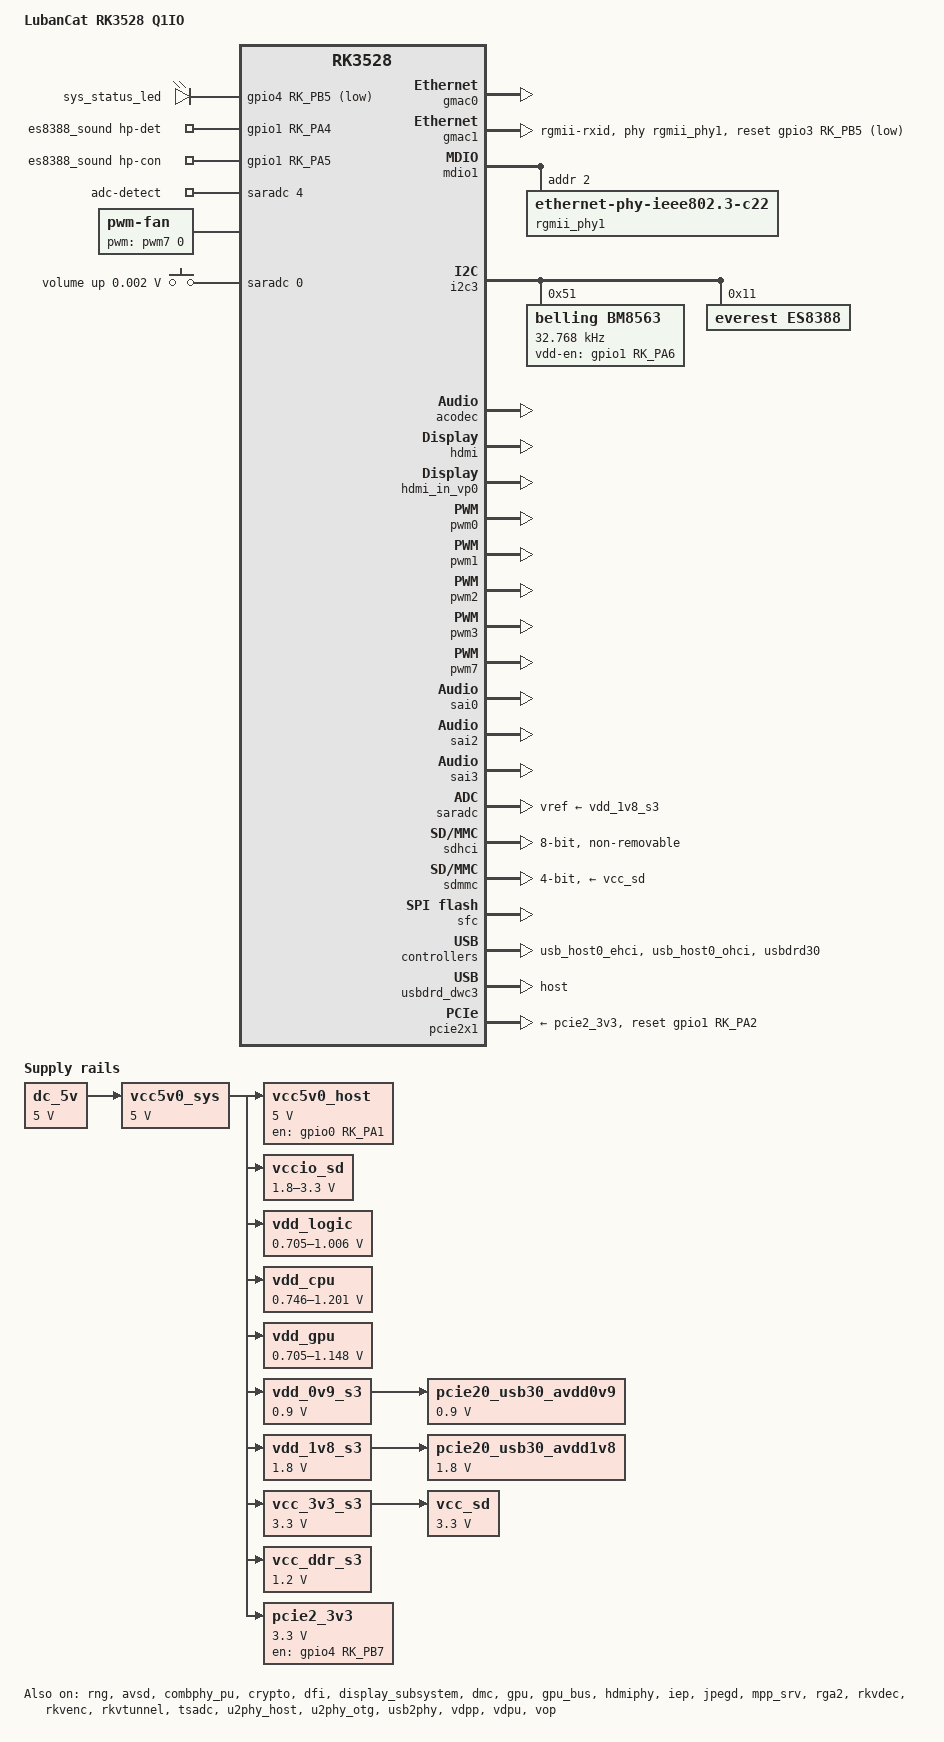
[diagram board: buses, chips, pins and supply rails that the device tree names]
// SPDX-License-Identifier: (GPL-2.0+ OR MIT)
/*
 * Copyright (c) 2022 Rockchip Electronics Co., Ltd.
 *
 */
/dts-v1/;

#include "rk3528.dtsi"
#include <dt-bindings/gpio/gpio.h>
//#include <dt-bindings/input/rk-input.h>
#include <dt-bindings/input/linux-event-codes.h>
#include <dt-bindings/pinctrl/rockchip.h>
#include "rk3528-linux.dtsi"

/ {

	model = "LubanCat RK3528 Q1IO";
	compatible = "rockchip,lubancat-q1io", "rockchip,rk3528";

	chosen: chosen {
		bootargs = "earlycon=uart8250,mmio32,0xff9f0000 console=ttyFIQ0 root=PARTUUID=614e0000-0000 rw rootwait";
	};

	leds: leds {
		status = "okay";
		compatible = "gpio-leds";

		sys_status_led: sys-status-led {
			label = "sys_status_led";
			linux,default-trigger = "heartbeat";
			default-state = "on";
			gpios = <&gpio4 RK_PB5 GPIO_ACTIVE_LOW>;
			pinctrl-names = "default";
			pinctrl-0 = <&sys_status_led_pin>;
		};

	};

	acodec_sound: acodec-sound {
		status = "okay";
		compatible = "simple-audio-card";
		simple-audio-card,name = "rk3528-acodec";
		simple-audio-card,format = "i2s";
		simple-audio-card,mclk-fs = <256>;
		simple-audio-card,cpu {
			sound-dai = <&sai2>;
		};
		simple-audio-card,codec {
			sound-dai = <&acodec>;
		};
	};

	es8388_sound: es8388-sound {
		status = "okay";
		compatible = "rockchip,multicodecs-card";
		rockchip,card-name = "rockchip-es8388";
		hp-det-gpio = <&gpio1 RK_PA4 GPIO_ACTIVE_HIGH>;
		hp-con-gpio = <&gpio1 RK_PA5 GPIO_ACTIVE_HIGH>;
		io-channels = <&saradc 4>;
		io-channel-names = "adc-detect";
		keyup-threshold-microvolt = <1800000>;
		poll-interval = <100>;
		rockchip,format = "i2s";
		rockchip,mclk-fs = <256>;
		rockchip,cpu = <&sai0>;
		rockchip,codec = <&es8388>;
		rockchip,audio-routing =
			"Headphone", "LOUT1",
			"Headphone", "ROUT1",
			"Headphone", "Headphone Power",
			"Headphone", "Headphone Power",
			"LINPUT1", "Headset Mic",
			"RINPUT1", "Headset Mic",
			"LINPUT2", "Main Mic",
			"RINPUT2", "Main Mic";
		pinctrl-names = "default";
		pinctrl-0 = <&hp_det>;
		play-pause-key {
			label = "playpause";
			linux,code = <KEY_PLAYPAUSE>;
			press-threshold-microvolt = <2000>;
		};

		previous-song-key {
			label = "previoussong";
			linux,code = <KEY_PREVIOUSSONG>;
			press-threshold-microvolt = <145000>;
		};

		next-song-key {
			label = "nextsong";
			linux,code = <KEY_NEXTSONG>;
			press-threshold-microvolt = <290000>;
		};
	};
	fan: pwm-fan {
		compatible = "pwm-fan";
		#cooling-cells = <2>;
		pwms = <&pwm7 0 5000 0>;
		cooling-levels = <0 100 150 200 255>;
		rockchip,temp-trips = <
			40000	1
			55000	2
			60000	3
			65000	4
		>;
	};

	adc_keys: adc-keys {
		status = "okay";
		compatible = "adc-keys";
		io-channels = <&saradc 0>;
		io-channel-names = "buttons";
		keyup-threshold-microvolt = <1800000>;
		poll-interval = <100>;

		vol-up-key {
			label = "volume up";
			linux,code = <KEY_VOLUMEUP>;
			press-threshold-microvolt = <1750>;
		};
	};

	dc_5v: dc-5v {
		compatible = "regulator-fixed";
		regulator-name = "dc_5v";
		regulator-always-on;
		regulator-boot-on;
		regulator-min-microvolt = <5000000>;
		regulator-max-microvolt = <5000000>;
	};

	hdmi_sound: hdmi-sound {
		compatible = "rockchip,hdmi";
		rockchip,mclk-fs = <128>;
		rockchip,card-name = "rockchip,hdmi";
		rockchip,cpu = <&sai3>;
		rockchip,codec = <&hdmi>;
		rockchip,jack-det;
	};

	pdmics: dummy-codec {
		status = "disabled";
		compatible = "rockchip,dummy-codec";
		#sound-dai-cells = <0>;
	};

	pdm_mic_array: pdm-mic-array {
		status = "disabled";
		compatible = "simple-audio-card";
		simple-audio-card,name = "rockchip,pdm-mic-array";
		simple-audio-card,cpu {
			sound-dai = <&pdm>;
		};
		simple-audio-card,codec {
			sound-dai = <&pdmics>;
		};
	};

	vcc5v0_sys: vcc5v0-sys {
		compatible = "regulator-fixed";
		regulator-name = "vcc5v0_sys";
		regulator-always-on;
		regulator-boot-on;
		regulator-min-microvolt = <5000000>;
		regulator-max-microvolt = <5000000>;
		vin-supply = <&dc_5v>;
	};

	vcc5v0_host: vcc5v0-host-regulator {
		compatible = "regulator-fixed";
		regulator-name = "vcc5v0_host";
		regulator-boot-on;
		regulator-always-on;
		regulator-min-microvolt = <5000000>;
		regulator-max-microvolt = <5000000>;
		enable-active-high;
		gpio = <&gpio0 RK_PA1 GPIO_ACTIVE_HIGH>;
		vin-supply = <&vcc5v0_sys>;
		pinctrl-names = "default";
		pinctrl-0 = <&vcc5v0_host_en>;
	};

	vccio_sd: vccio-sd {
		compatible = "regulator-gpio";
		regulator-name = "vccio_sd";
		regulator-min-microvolt = <1800000>;
		regulator-max-microvolt = <3300000>;
		gpios = <&gpio0 RK_PA0 GPIO_ACTIVE_LOW>;
		vin-supply = <&vcc5v0_sys>;
		states = <1800000 0x1 3300000 0x0>;
	};

	vdd_logic: vdd-logic {
		compatible = "pwm-regulator";
		pwms = <&pwm2 0 5000 1>;
		regulator-name = "vdd_logic";
		regulator-min-microvolt = <705000>;
		regulator-max-microvolt = <1006000>;
		regulator-init-microvolt = <900000>;
		regulator-always-on;
		regulator-boot-on;
		regulator-settling-time-up-us = <250>;
		pwm-supply = <&vcc5v0_sys>;
		status = "okay";
	};

	vdd_cpu: vdd-cpu {
		compatible = "pwm-regulator";
		pwms = <&pwm1 0 5000 1>;
		regulator-name = "vdd_cpu";
		regulator-min-microvolt = <746000>;
		regulator-max-microvolt = <1201000>;
		regulator-init-microvolt = <953000>;
		regulator-always-on;
		regulator-boot-on;
		regulator-settling-time-up-us = <250>;
		pwm-supply = <&vcc5v0_sys>;
		status = "okay";
	};

	vdd_gpu: vdd-gpu {
		compatible = "pwm-regulator";
		pwms = <&pwm0 0 5000 1>;
		regulator-name = "vdd_gpu";
		regulator-min-microvolt = <705000>;
		regulator-max-microvolt = <1148000>;
		regulator-init-microvolt = <900000>;
		regulator-always-on;
		regulator-boot-on;
		regulator-settling-time-up-us = <250>;
		pwm-supply = <&vcc5v0_sys>;
		status = "okay";
	};

	vdd_0v9_s3: vdd-0v9-s3 {
		compatible = "regulator-fixed";
		regulator-name = "vdd_0v9_s3";
		regulator-always-on;
		regulator-boot-on;
		regulator-min-microvolt = <900000>;
		regulator-max-microvolt = <900000>;
		vin-supply = <&vcc5v0_sys>;
	};

	vdd_1v8_s3: vdd-1v8-s3 {
		compatible = "regulator-fixed";
		regulator-name = "vdd_1v8_s3";
		regulator-always-on;
		regulator-boot-on;
		regulator-min-microvolt = <1800000>;
		regulator-max-microvolt = <1800000>;
		vin-supply = <&vcc5v0_sys>;
	};

	vcc_3v3_s3: vcc-3v3-s3 {
		compatible = "regulator-fixed";
		regulator-name = "vcc_3v3_s3";
		regulator-always-on;
		regulator-boot-on;
		regulator-min-microvolt = <3300000>;
		regulator-max-microvolt = <3300000>;
		vin-supply = <&vcc5v0_sys>;
	};

	vcc_sd: vcc-sd {
		compatible = "regulator-fixed";
		regulator-name = "vcc_sd";
		regulator-min-microvolt = <3300000>;
		regulator-max-microvolt = <3300000>;
		vin-supply = <&vcc_3v3_s3>;
	};

	vcc_ddr_s3: vcc-ddr-s3 {
		compatible = "regulator-fixed";
		regulator-name = "vcc_ddr_s3";
		regulator-always-on;
		regulator-boot-on;
		regulator-min-microvolt = <1200000>;
		regulator-max-microvolt = <1200000>;
		vin-supply = <&vcc5v0_sys>;
	};

	pcie20_usb30_avdd0v9: pcie20-usb30-avdd0v9 {
		compatible = "regulator-fixed";
		regulator-name = "pcie20_usb30-avdd0v9";
		regulator-boot-on;
		regulator-always-on;
		regulator-min-microvolt = <900000>;
		regulator-max-microvolt = <900000>;
		vin-supply = <&vdd_0v9_s3>;
	};

	pcie20_usb30_avdd1v8: pcie20-usb30-avdd1v8 {
		compatible = "regulator-fixed";
		regulator-name = "pcie20_usb30_avdd1v8";
		regulator-boot-on;
		regulator-always-on;
		regulator-min-microvolt = <1800000>;
		regulator-max-microvolt = <1800000>;
		vin-supply = <&vdd_1v8_s3>;
	};


	pcie2_3v3: pcie2-3v3-regulator {
		compatible = "regulator-fixed";
		regulator-name = "pcie2_3v3";
		regulator-min-microvolt = <3300000>;
		regulator-max-microvolt = <3300000>;
		enable-active-high;
		gpio = <&gpio4 RK_PB7 GPIO_ACTIVE_HIGH>;
		startup-delay-us = <5000>;
		vin-supply = <&vcc5v0_sys>;
		regulator-always-on;
	};

	/*wifi_usb: wifi-usb {
		compatible = "regulator-fixed";
		regulator-name = "wifi_usb";
		regulator-min-microvolt = <3300000>;
		regulator-max-microvolt = <3300000>;
		pinctrl-names = "default";
		pinctrl-0 = <&wifi_poweren_gpio>;
		regulator-always-on;
		enable-active-low;
		gpio = <&gpio4 RK_PC0 GPIO_ACTIVE_LOW>;
	};*/
};

&gmac0 {
	status = "okay";
};

&gmac1 {
	/* Use rgmii-rxid mode to disable rx delay inside Soc */
	phy-mode = "rgmii-rxid";
	clock_in_out = "output";

	snps,reset-gpio = <&gpio3 RK_PB5 GPIO_ACTIVE_LOW>;
	snps,reset-active-low;
	/* Reset time is 20ms, 100ms for rtl8211f */
	snps,reset-delays-us = <0 20000 100000>;

	tx_delay = <0x15>;
	/* rx_delay = <0x3f>; */

	pinctrl-names = "default";
	pinctrl-0 = <&rgmii_miim
		&rgmii_tx_bus2
		&rgmii_rx_bus2
		&rgmii_rgmii_clk
		&rgmii_rgmii_bus>;

	phy-handle = <&rgmii_phy1>;
	status = "okay";
};

&mdio1 {
	rgmii_phy1: phy@1 {
		compatible = "ethernet-phy-ieee802.3-c22";
		reg = <0x2>;
	};
};

&i2c3 {
	pinctrl-names = "default";
	pinctrl-0 = <&i2c3m1_xfer>;
	status = "okay";

	bm8563: bm8563@51 {
		compatible = "belling,bm8563";
		reg = <0x51>;
		#clock-cells = <0>;
		clock-frequency = <32768>;
		//clock-output-names = "bm8563";
		pinctrl-names = "default";
		pinctrl-0 = <&bm8563_int>;
		vdd-en-gpio = <&gpio1 RK_PA6 GPIO_ACTIVE_HIGH>;
	};

	es8388: es8388@11 {
		status = "okay";
		#sound-dai-cells = <0>;
		compatible = "everest,es8388", "everest,es8323";
		reg = <0x11>;
		clocks = <&mclkout_sai0>;
		clock-names = "mclk";
		assigned-clocks = <&mclkout_sai0>;
		assigned-clock-rates = <12288000>;
		pinctrl-names = "default";
		pinctrl-0 = <&i2s0m1_mclk>;
	};
};

&rng {
	status = "okay";
};

&avsd {
	status = "okay";
};

&combphy_pu {
	status = "okay";
};

&cpu0 {
	cpu-supply = <&vdd_cpu>;
};

&crypto {
	status = "okay";
};

&dfi {
	status = "okay";
};

&display_subsystem {
	status = "okay";
};

&dmc {
	center-supply = <&vdd_logic>;
	status = "okay";
};

&acodec {
	status = "okay";
};

&gpu {
	mali-supply = <&vdd_gpu>;
	status = "okay";
};

&gpu_bus {
	bus-supply = <&vdd_logic>;
	status = "okay";
};

&hdmi {
	status = "okay";
};

&hdmi_in_vp0 {
	status = "okay";
};

&hdmiphy {
	status = "okay";
};

&iep {
	status = "okay";
};

&iep_mmu {
	status = "okay";
};

&jpegd {
	status = "okay";
};

&jpegd_mmu {
	status = "okay";
};

&mpp_srv {
	status = "okay";
};

&pwm0 {
	status = "okay";
};

&pwm1 {
	status = "okay";
};

&pwm2 {
	status = "okay";
};

&pwm3 {
	compatible = "rockchip,remotectl-pwm";
	pinctrl-names = "default";
	pinctrl-0 = <&pwm3m0_pins>;
	remote_pwm_id = <3>;
	handle_cpu_id = <1>;
	remote_support_psci = <0>;
	status = "okay";

	ir_key_lubancat{
	rockchip,usercode = <0xff00>;
	rockchip,key_table =
		<0xba   KEY_POWER>,   //电源按键
		<0xb8   KEY_MENU>,     //菜单按键
		<0xbc   KEY_BACK>,      //返回按键
		<0xbb   KEY_HOME>,      //home键按键
 		<0xea   KEY_PLAY>,      //播放按键
		<0xbf   KEY_VOLUMEUP>,  //音量加按键
		<0xe6   KEY_VOLUMEDOWN>,   //音量键按键
		<0xf6   KEY_FASTFORWARD>,  //快进按键
		<0xf8   KEY_FASTREVERSE>,  //快退按键
		<0xf2   KEY_BACKSPACE>,    //BaskSpace按键
		<0xf3   KEY_1>,            //按键1
		<0xe7   KEY_2>,
		<0xa1   KEY_3>,
		<0xf7   KEY_4>,
		<0xe3   KEY_5>,
		<0xa5   KEY_6>,
		<0xbd   KEY_7>,
		<0xad   KEY_8>,
		<0xb5   KEY_9>,
		<0xe9   KEY_0>;            //按键0
	};
};

&pwm7 {
	pinctrl-0 = <&pwm7m0_pins>;
	status = "okay";
};

&rga2 {
	status = "okay";
};

&rga2_mmu {
	status = "okay";
};

&rkvdec {
	status = "okay";
};

&rkvdec_mmu {
	status = "okay";
};

&rkvenc {
	status = "okay";
};

&rkvenc_mmu {
	status = "okay";
};

&rkvtunnel {
	status = "okay";
};

&rockchip_suspend {
	status = "okay";
	rockchip,sleep-debug-en = <1>;
	rockchip,virtual-poweroff = <1>;
	rockchip,sleep-mode-config = <
		(0
		| RKPM_SLP_ARMPD
		)
	>;
	rockchip,wakeup-config = <
		(0
		| RKPM_CPU0_WKUP_EN
		| RKPM_GPIO_WKUP_EN
		)
	>;
	rockchip,pwm-regulator-config = <
		(0
		| RKPM_PWM0_M0_REGULATOR_EN
		| RKPM_PWM1_M0_REGULATOR_EN
		)
	>;
};

&sai0 {
	pinctrl-0 = <&i2s0m1_lrck &i2s0m1_sclk &i2s0m1_sdi &i2s0m1_sdo>;
	status = "okay";
};

&sai2 {
	status = "okay";
};

&sai3 {
	status = "okay";
};

&saradc {
	status = "okay";
	vref-supply = <&vdd_1v8_s3>;
};

&sdhci {
	bus-width = <8>;
	no-sd;
	no-sdio;
	non-removable;
	mmc-hs400-1_8v;
	mmc-hs400-enhanced-strobe;
	max-frequency = <200000000>;
	status = "okay";
};

&sdmmc {
	bus-width = <4>;
	cap-mmc-highspeed;
	cap-sd-highspeed;
	disable-wp;
	max-frequency = <150000000>;
	pinctrl-names = "default";
	pinctrl-0 = <&sdmmc_clk &sdmmc_cmd &sdmmc_det &sdmmc_bus4>;
	supports-sd;
	sd-uhs-sdr12;
	sd-uhs-sdr25;
	sd-uhs-sdr50;
	sd-uhs-sdr104;
	vqmmc-supply = <&vccio_sd>;
	vmmc-supply = <&vcc_sd>;
	status = "okay";
};

&sfc {
	status = "okay";
};

&tsadc {
	status = "okay";
};

&u2phy_host {
	phy-supply = <&vcc5v0_host>;
	status = "okay";
};

&u2phy_otg {
	status = "okay";
};

&usb2phy {
	status = "okay";
};

&usb_host0_ehci {
	status = "okay";
};

&usb_host0_ohci {
	status = "okay";
};

&usbdrd30 {
	status = "okay";
};

&usbdrd_dwc3 {
	dr_mode = "host";
	extcon = <&usb2phy>;
	status = "okay";
};

&vdpp {
	status = "okay";
};

&vdpu {
	status = "okay";
};

&vdpu_mmu {
	status = "okay";
};

&vop {
	status = "okay";
};

&vop_mmu {
	status = "okay";
};

&pcie2x1 {
	reset-gpios = <&gpio1 RK_PA2 GPIO_ACTIVE_HIGH>;
	disable-gpios = <&gpio1 RK_PA3 GPIO_ACTIVE_HIGH>;
	vpcie3v3-supply = <&pcie2_3v3>;
	status = "okay";
};

&pinctrl {
	usb {
		vcc5v0_host_en: vcc5v0-host-en {
			rockchip,pins = <0 RK_PA1 RK_FUNC_GPIO &pcfg_pull_none>;
		};
	};

	wireless-wlan {
		wifi_poweren_gpio: wifi-poweren-gpio {
			rockchip,pins = <4 RK_PC0 RK_FUNC_GPIO &pcfg_pull_none>;
		};
	};

	bm8563 {
		bm8563_int: bm8563-int {
			rockchip,pins = <1 RK_PA6 RK_FUNC_GPIO &pcfg_pull_up>;
		};
	};

	headphone {
		hp_det: hp-det {
			rockchip,pins = <1 RK_PA4 RK_FUNC_GPIO &pcfg_pull_none>;
		};
	};

	leds {
		sys_status_led_pin: sys-status-led-pin {
			rockchip,pins = <4 RK_PB5 RK_FUNC_GPIO &pcfg_pull_none>;
		};
	};
};
